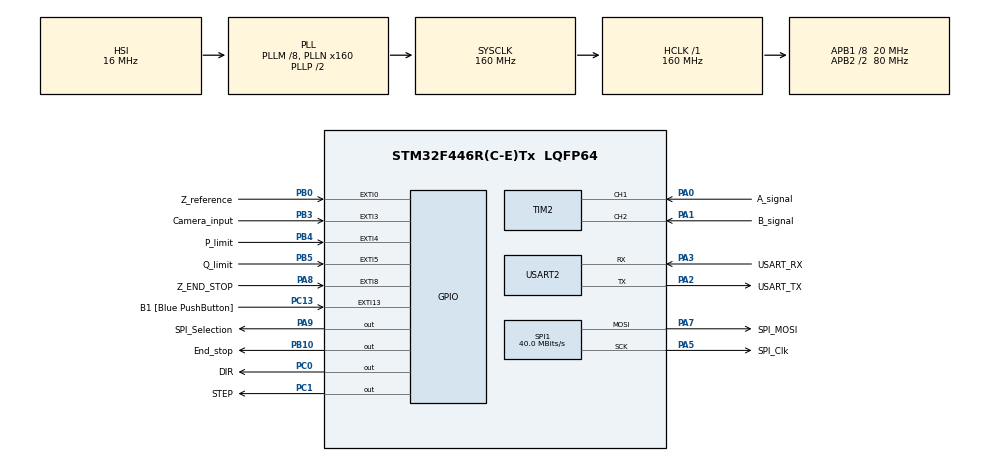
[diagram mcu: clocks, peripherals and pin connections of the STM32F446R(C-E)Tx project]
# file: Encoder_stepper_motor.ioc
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Mcu.Family=STM32F4
Mcu.Name=STM32F446R(C-E)Tx
Mcu.Package=LQFP64
NVIC.EXTI0_IRQn=true\:0\:0\:false\:false\:true\:true\:true\:true
NVIC.EXTI3_IRQn=true\:0\:0\:false\:false\:true\:true\:true\:true
NVIC.EXTI4_IRQn=true\:0\:0\:false\:false\:true\:true\:true\:true
NVIC.EXTI9_5_IRQn=true\:0\:0\:false\:false\:true\:true\:true\:true
NVIC.PriorityGroup=NVIC_PRIORITYGROUP_4
NVIC.TIM2_IRQn=true\:0\:0\:false\:false\:true\:true\:true\:true
NVIC.USART2_IRQn=true\:0\:0\:false\:false\:true\:true\:true\:true
PA0-WKUP.GPIO_Label=A_signal
PA0-WKUP.Signal=S_TIM2_CH1_ETR
PA1.GPIO_Label=B_signal
PA1.Signal=S_TIM2_CH2
PA13.GPIO_Label=TMS
PA13.Mode=Serial_Wire
PA13.Signal=SYS_JTMS-SWDIO
PA14.GPIO_Label=TCK
PA14.Mode=Serial_Wire
PA14.Signal=SYS_JTCK-SWCLK
PA2.GPIO_Label=USART_TX
PA2.Mode=Asynchronous
PA2.Signal=USART2_TX
PA3.GPIO_Label=USART_RX
PA3.Mode=Asynchronous
PA3.Signal=USART2_RX
PA5.GPIO_Label=SPI_Clk
PA5.Mode=TX_Only_Simplex_Unidirect_Master
PA5.Signal=SPI1_SCK
PA7.GPIO_Label=SPI_MOSI
PA7.Mode=TX_Only_Simplex_Unidirect_Master
PA7.Signal=SPI1_MOSI
PA8.GPIO_Label=Z_END_STOP 
PA8.GPIO_ModeDefaultEXTI=GPIO_MODE_IT_FALLING
PA8.GPIO_PuPd=GPIO_PULLUP
PA8.Signal=GPXTI8
PA9.GPIO_Label=SPI_Selection
PA9.GPIO_Speed=GPIO_SPEED_FREQ_VERY_HIGH
PA9.PinState=GPIO_PIN_SET
PA9.Signal=GPIO_Output
PB0.GPIO_Label=Z_reference 
PB0.GPIO_PuPd=GPIO_PULLDOWN
PB0.Signal=GPXTI0
PB10.GPIO_Label=End_stop
PB10.GPIO_Speed=GPIO_SPEED_FREQ_VERY_HIGH
PB10.PinState=GPIO_PIN_SET
PB10.Signal=GPIO_Output
PB3.GPIO_Label=Camera_input
PB3.GPIO_PuPd=GPIO_NOPULL
PB3.Signal=GPXTI3
PB4.GPIO_Label=P_limit
PB4.GPIO_PuPd=GPIO_PULLDOWN
PB4.Signal=GPXTI4
PB5.GPIO_Label=Q_limit
PB5.GPIO_PuPd=GPIO_PULLDOWN
PB5.Signal=GPXTI5
PC0.GPIO_Label=DIR
PC0.GPIO_Speed=GPIO_SPEED_FREQ_VERY_HIGH
PC0.Signal=GPIO_Output
PC1.GPIO_Label=STEP
PC1.GPIO_Speed=GPIO_SPEED_FREQ_VERY_HIGH
PC1.Signal=GPIO_Output
PC13.GPIO_Label=B1 [Blue PushButton]
PC13.GPIO_ModeDefaultEXTI=GPIO_MODE_IT_FALLING
PC13.Signal=GPXTI13
PC14-OSC32_IN.Mode=LSE-External-Oscillator
PC14-OSC32_IN.Signal=RCC_OSC32_IN
PC15-OSC32_OUT.Mode=LSE-External-Oscillator
PC15-OSC32_OUT.Signal=RCC_OSC32_OUT
PH0-OSC_IN.Mode=HSE-External-Oscillator
PH0-OSC_IN.Signal=RCC_OSC_IN
PH1-OSC_OUT.Mode=HSE-External-Oscillator
PH1-OSC_OUT.Signal=RCC_OSC_OUT
ProjectManager.HeapSize=0x200
ProjectManager.StackSize=0x400
ProjectManager.TargetToolchain=STM32CubeIDE
RCC.48MHZClocksFreq_Value=84000000
RCC.AHBFreq_Value=160000000
RCC.APB1CLKDivider=RCC_HCLK_DIV8
RCC.APB1Freq_Value=20000000
RCC.APB1TimFreq_Value=40000000
RCC.APB2CLKDivider=RCC_HCLK_DIV2
RCC.APB2Freq_Value=80000000
RCC.APB2TimFreq_Value=160000000
RCC.CortexFreq_Value=160000000
RCC.FLatency-AdvancedSettings=FLASH_LATENCY_5
RCC.HCLKFreq_Value=160000000
RCC.HSE_VALUE=8000000
RCC.HSI_VALUE=16000000
RCC.PLLM=8
RCC.PLLN=160
RCC.SYSCLKFreq_VALUE=160000000
RCC.SYSCLKSource=RCC_SYSCLKSOURCE_PLLCLK
RCC.USBFreq_Value=160000000
RCC.VCOOutputFreq_Value=320000000
SH.S_TIM2_CH1_ETR.0=TIM2_CH1,Encoder_Interface
SH.S_TIM2_CH2.0=TIM2_CH2,Encoder_Interface
SPI1.CalculateBaudRate=40.0 MBits/s
SPI1.Direction=SPI_DIRECTION_2LINES
SPI1.Mode=SPI_MODE_MASTER
SPI1.VirtualType=VM_MASTER
TIM2.EncoderMode=TIM_ENCODERMODE_TI12
TIM6.Prescaler=40-1
TIM7.Prescaler=40-1
USART2.VirtualMode=VM_ASYNC
VP_TIM6_VS_ClockSourceINT.Mode=Enable_Timer
VP_TIM7_VS_ClockSourceINT.Mode=Enable_Timer
board=NUCLEO-F446RE

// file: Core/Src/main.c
/* USER CODE BEGIN Header */
/**
  ******************************************************************************
  * @file           : main.c
  * @brief          : Main program body
  ******************************************************************************
  * @attention
  *
  * Copyright (c) 2023 STMicroelectronics.
  * All rights reserved.
  *
  * This software is licensed under terms that can be found in the LICENSE file
  * in the root directory of this software component.
  * If no LICENSE file comes with this software, it is provided AS-IS.
  *
  ******************************************************************************
  */
/* USER CODE END Header */
#include "main.h"

SPI_HandleTypeDef hspi1;

TIM_HandleTypeDef htim2;
TIM_HandleTypeDef htim6;
TIM_HandleTypeDef htim7;

UART_HandleTypeDef huart2;

/* USER CODE BEGIN PV */

/****************************** UART commands *****************/

uint8_t RxBuffer[50]; //UART command buffer
uint8_t RxIndex = 0;
uint8_t Exec_command = 0;
uint8_t rxByte;
char sending_data[50] = "Nan \n"; //
uint8_t RX_Char;
/**************************************************************/

/************ Z Stepper Motor varibles ************/

//const float steps_per_millimeters = 50000.0; // configure steps per millimeter
float targetPos = -1.0; //in millimeters

const uint32_t multiplier = 1000000;

const int32_t min_pos_mm = 0;
const float  max_pos_mm = 21* multiplier; //in millimeters
const float home_speed_mm = 1;
const float Acceleration_mm = 80 *50000;
int32_t min_pos = (int32_t ) (steps_per_millimeters * min_pos_mm);
int32_t max_pos = (int32_t ) (steps_per_millimeters * max_pos_mm);
int32_t home_speed = (int32_t) (steps_per_millimeters * home_speed_mm);

float Acceleration = Acceleration_mm*steps_per_millimeters; //stepsPerSecondSquared

int32_t Total_Steps;

//z homing variables
uint8_t Home_Pass = 0; // to make two pass of z homing
uint8_t HOMED = false;
/*******************************************************************/

/********** Encoder variables ************/

uint32_t Encoder_Count = 0;
//int16_t count;
int i = 0;
/*******************************************************************/

/************** Camera based variables *************/

// flag used to change the reaction for camera_input falling edge detection
// sending encoder values or toggle the LED colour
uint8_t flag = 0;

/* USER CODE END PV */

void SystemClock_Config(void);
static void MX_GPIO_Init(void);
static void MX_USART2_UART_Init(void);
static void MX_TIM6_Init(void);
static void MX_TIM7_Init(void);
static void MX_SPI1_Init(void);
static void MX_TIM2_Init(void);
/* USER CODE BEGIN PFP */
void __delay_ms(int32_t);
//void HAL_GPIO_EXTI_Callback(uint16_t);

/* USER CODE END PFP */

int main(void)
{

  /* MCU Configuration--------------------------------------------------------*/

  /* Reset of all peripherals, Initializes the Flash interface and the Systick. */
   HAL_Init();

  /* Configure the system clock */
  SystemClock_Config();

  /* Initialize all configured peripherals */
  MX_GPIO_Init();
  MX_USART2_UART_Init();
  MX_TIM6_Init();
  MX_TIM7_Init();
  MX_SPI1_Init();
  MX_TIM2_Init();
  /* USER CODE BEGIN 2 */
  /****************************** Setting up IRQ ***********************/
	HAL_NVIC_DisableIRQ(Z_END_STOP_EXTI_IRQn);
	HAL_NVIC_DisableIRQ(Z_reference_EXTI_IRQn);
	HAL_NVIC_DisableIRQ(P_limit_EXTI_IRQn);
	HAL_NVIC_DisableIRQ(Q_limit_EXTI_IRQn);

	//HAL_NVIC_DisableIRQ(Camera_input_EXTI_IRQn);
	//let's enable the camera_input only

  /*****************************************************************/

/*********************** LED SPI Intialization *******************/

	//initializing LED values
	dectobin(ch1_br, &ch1_buff1, &ch1_buff2);
	dectobin(ch2_br, &ch2_buff1, &ch2_buff2);
	dectobin(ch3_br, &ch3_buff1, &ch3_buff2);
	//setting up channel select pin to HIGH
	HAL_GPIO_WritePin(GPIOA, GPIO_PIN_9, GPIO_PIN_SET);

/************************** UART Initialisation *********************/
	// initiating interrupt for PC data receiving
	HAL_UART_Receive_IT(&huart2, &rxByte, 1);

/************************** Encoder Intialization *******************/

	HAL_TIM_Encoder_Start(&htim2,TIM_CHANNEL_ALL); //starting encoder

/*************************** Timer Intializations ****************/

  HAL_TIM_Base_Start(&htim6); //to calculate pulse time

  HAL_TIM_Base_Start(&htim7); // for microseconds delay

/*********************** Z motor initialization *********************/

	stepper_setup(STEP_GPIO_Port, STEP_Pin, DIR_GPIO_Port, DIR_Pin );

	//sample movement
	Total_Steps = (int32_t) ( steps_per_millimeters * targetPos );
	setMaxSpeed(10*steps_per_millimeters);
	setAcceleration(Acceleration);
	moveTo(Total_Steps);

	//runToPosition(); //moving to desired positions

/*********************************************************************/

  /* USER CODE END 2 */

  /* Infinite loop */
  while (1)
  {

    /* USER CODE BEGIN 3 */
	if(Exec_command){
	//			char str[] = "G91 Z30 F300 \r";
		int MAX_TOKENS = 3;
		char *token;
		char *tokens[3] = {0};
		int i = 0;

		/* Split the string by the delimiter " " */
		token = strtok((char *)RxBuffer, " ");

		while (token != NULL && i < MAX_TOKENS) {
			tokens[i] = token;
			i++;
			token = strtok(NULL, " ");
		}

		//Excute the command
		UART_Command(tokens);
	}
  }
  /* USER CODE END 3 */
}

void SystemClock_Config(void)
{
  RCC_OscInitTypeDef RCC_OscInitStruct = {0};
  RCC_ClkInitTypeDef RCC_ClkInitStruct = {0};

  /** Configure the main internal regulator output voltage
  */
  __HAL_RCC_PWR_CLK_ENABLE();
  __HAL_PWR_VOLTAGESCALING_CONFIG(PWR_REGULATOR_VOLTAGE_SCALE1);

  /** Initializes the RCC Oscillators according to the specified parameters
  * in the RCC_OscInitTypeDef structure.
  */
  RCC_OscInitStruct.OscillatorType = RCC_OSCILLATORTYPE_HSI;
  RCC_OscInitStruct.HSIState = RCC_HSI_ON;
  RCC_OscInitStruct.HSICalibrationValue = RCC_HSICALIBRATION_DEFAULT;
  RCC_OscInitStruct.PLL.PLLState = RCC_PLL_ON;
  RCC_OscInitStruct.PLL.PLLSource = RCC_PLLSOURCE_HSI;
  RCC_OscInitStruct.PLL.PLLM = 8;
  RCC_OscInitStruct.PLL.PLLN = 160;
  RCC_OscInitStruct.PLL.PLLP = RCC_PLLP_DIV2;
  RCC_OscInitStruct.PLL.PLLQ = 2;
  RCC_OscInitStruct.PLL.PLLR = 2;
  if (HAL_RCC_OscConfig(&RCC_OscInitStruct) != HAL_OK)
  {
    Error_Handler();
  }

  /** Initializes the CPU, AHB and APB buses clocks
  */
  RCC_ClkInitStruct.ClockType = RCC_CLOCKTYPE_HCLK|RCC_CLOCKTYPE_SYSCLK
                              |RCC_CLOCKTYPE_PCLK1|RCC_CLOCKTYPE_PCLK2;
  RCC_ClkInitStruct.SYSCLKSource = RCC_SYSCLKSOURCE_PLLCLK;
  RCC_ClkInitStruct.AHBCLKDivider = RCC_SYSCLK_DIV1;
  RCC_ClkInitStruct.APB1CLKDivider = RCC_HCLK_DIV8;
  RCC_ClkInitStruct.APB2CLKDivider = RCC_HCLK_DIV2;

  if (HAL_RCC_ClockConfig(&RCC_ClkInitStruct, FLASH_LATENCY_5) != HAL_OK)
  {
    Error_Handler();
  }
}

static void MX_SPI1_Init(void)
{

  /* SPI1 parameter configuration*/
  hspi1.Instance = SPI1;
  hspi1.Init.Mode = SPI_MODE_MASTER;
  hspi1.Init.Direction = SPI_DIRECTION_2LINES;
  hspi1.Init.DataSize = SPI_DATASIZE_8BIT;
  hspi1.Init.CLKPolarity = SPI_POLARITY_LOW;
  hspi1.Init.CLKPhase = SPI_PHASE_1EDGE;
  hspi1.Init.NSS = SPI_NSS_SOFT;
  hspi1.Init.BaudRatePrescaler = SPI_BAUDRATEPRESCALER_2;
  hspi1.Init.FirstBit = SPI_FIRSTBIT_MSB;
  hspi1.Init.TIMode = SPI_TIMODE_DISABLE;
  hspi1.Init.CRCCalculation = SPI_CRCCALCULATION_DISABLE;
  hspi1.Init.CRCPolynomial = 10;
  if (HAL_SPI_Init(&hspi1) != HAL_OK)
  {
    Error_Handler();
  }

}

static void MX_TIM2_Init(void)
{

  TIM_Encoder_InitTypeDef sConfig = {0};
  TIM_MasterConfigTypeDef sMasterConfig = {0};

  htim2.Instance = TIM2;
  htim2.Init.Prescaler = 0;
  htim2.Init.CounterMode = TIM_COUNTERMODE_UP;
  htim2.Init.Period = 4294967295;
  htim2.Init.ClockDivision = TIM_CLOCKDIVISION_DIV1;
  htim2.Init.AutoReloadPreload = TIM_AUTORELOAD_PRELOAD_DISABLE;
  sConfig.EncoderMode = TIM_ENCODERMODE_TI12;
  sConfig.IC1Polarity = TIM_ICPOLARITY_RISING;
  sConfig.IC1Selection = TIM_ICSELECTION_DIRECTTI;
  sConfig.IC1Prescaler = TIM_ICPSC_DIV1;
  sConfig.IC1Filter = 0;
  sConfig.IC2Polarity = TIM_ICPOLARITY_RISING;
  sConfig.IC2Selection = TIM_ICSELECTION_DIRECTTI;
  sConfig.IC2Prescaler = TIM_ICPSC_DIV1;
  sConfig.IC2Filter = 0;
  if (HAL_TIM_Encoder_Init(&htim2, &sConfig) != HAL_OK)
  {
    Error_Handler();
  }
  sMasterConfig.MasterOutputTrigger = TIM_TRGO_RESET;
  sMasterConfig.MasterSlaveMode = TIM_MASTERSLAVEMODE_DISABLE;
  if (HAL_TIMEx_MasterConfigSynchronization(&htim2, &sMasterConfig) != HAL_OK)
  {
    Error_Handler();
  }

}

static void MX_TIM6_Init(void)
{

  TIM_MasterConfigTypeDef sMasterConfig = {0};

  htim6.Instance = TIM6;
  htim6.Init.Prescaler = 40-1;
  htim6.Init.CounterMode = TIM_COUNTERMODE_UP;
  htim6.Init.Period = 65535;
  htim6.Init.AutoReloadPreload = TIM_AUTORELOAD_PRELOAD_DISABLE;
  if (HAL_TIM_Base_Init(&htim6) != HAL_OK)
  {
    Error_Handler();
  }
  sMasterConfig.MasterOutputTrigger = TIM_TRGO_RESET;
  sMasterConfig.MasterSlaveMode = TIM_MASTERSLAVEMODE_DISABLE;
  if (HAL_TIMEx_MasterConfigSynchronization(&htim6, &sMasterConfig) != HAL_OK)
  {
    Error_Handler();
  }

}

static void MX_TIM7_Init(void)
{

  TIM_MasterConfigTypeDef sMasterConfig = {0};

  htim7.Instance = TIM7;
  htim7.Init.Prescaler = 40-1;
  htim7.Init.CounterMode = TIM_COUNTERMODE_UP;
  htim7.Init.Period = 65535;
  htim7.Init.AutoReloadPreload = TIM_AUTORELOAD_PRELOAD_DISABLE;
  if (HAL_TIM_Base_Init(&htim7) != HAL_OK)
  {
    Error_Handler();
  }
  sMasterConfig.MasterOutputTrigger = TIM_TRGO_RESET;
  sMasterConfig.MasterSlaveMode = TIM_MASTERSLAVEMODE_DISABLE;
  if (HAL_TIMEx_MasterConfigSynchronization(&htim7, &sMasterConfig) != HAL_OK)
  {
    Error_Handler();
  }

}

static void MX_USART2_UART_Init(void)
{

  huart2.Instance = USART2;
  huart2.Init.BaudRate = 115200;
  huart2.Init.WordLength = UART_WORDLENGTH_8B;
  huart2.Init.StopBits = UART_STOPBITS_1;
  huart2.Init.Parity = UART_PARITY_NONE;
  huart2.Init.Mode = UART_MODE_TX_RX;
  huart2.Init.HwFlowCtl = UART_HWCONTROL_NONE;
  huart2.Init.OverSampling = UART_OVERSAMPLING_16;
  if (HAL_UART_Init(&huart2) != HAL_OK)
  {
    Error_Handler();
  }

}

static void MX_GPIO_Init(void)
{
  GPIO_InitTypeDef GPIO_InitStruct = {0};

  /* GPIO Ports Clock Enable */
  __HAL_RCC_GPIOC_CLK_ENABLE();
  __HAL_RCC_GPIOH_CLK_ENABLE();
  __HAL_RCC_GPIOA_CLK_ENABLE();
  __HAL_RCC_GPIOB_CLK_ENABLE();

  /*Configure GPIO pin Output Level */
  HAL_GPIO_WritePin(GPIOC, DIR_Pin|STEP_Pin, GPIO_PIN_RESET);

  /*Configure GPIO pin Output Level */
  HAL_GPIO_WritePin(End_stop_GPIO_Port, End_stop_Pin, GPIO_PIN_SET);

  /*Configure GPIO pin Output Level */
  HAL_GPIO_WritePin(SPI_Selection_GPIO_Port, SPI_Selection_Pin, GPIO_PIN_SET);

  /*Configure GPIO pin : B1_Pin */
  GPIO_InitStruct.Pin = B1_Pin;
  GPIO_InitStruct.Mode = GPIO_MODE_IT_FALLING;
  GPIO_InitStruct.Pull = GPIO_NOPULL;
  HAL_GPIO_Init(B1_GPIO_Port, &GPIO_InitStruct);

  /*Configure GPIO pins : DIR_Pin STEP_Pin */
  GPIO_InitStruct.Pin = DIR_Pin|STEP_Pin;
  GPIO_InitStruct.Mode = GPIO_MODE_OUTPUT_PP;
  GPIO_InitStruct.Pull = GPIO_NOPULL;
  GPIO_InitStruct.Speed = GPIO_SPEED_FREQ_VERY_HIGH;
  HAL_GPIO_Init(GPIOC, &GPIO_InitStruct);

  /*Configure GPIO pins : Z_reference_Pin P_limit_Pin Q_limit_Pin */
  GPIO_InitStruct.Pin = Z_reference_Pin|P_limit_Pin|Q_limit_Pin;
  GPIO_InitStruct.Mode = GPIO_MODE_IT_RISING;
  GPIO_InitStruct.Pull = GPIO_PULLDOWN;
  HAL_GPIO_Init(GPIOB, &GPIO_InitStruct);

  /*Configure GPIO pin : End_stop_Pin */
  GPIO_InitStruct.Pin = End_stop_Pin;
  GPIO_InitStruct.Mode = GPIO_MODE_OUTPUT_PP;
  GPIO_InitStruct.Pull = GPIO_NOPULL;
  GPIO_InitStruct.Speed = GPIO_SPEED_FREQ_VERY_HIGH;
  HAL_GPIO_Init(End_stop_GPIO_Port, &GPIO_InitStruct);

  /*Configure GPIO pin : Z_END_STOP_Pin */
  GPIO_InitStruct.Pin = Z_END_STOP_Pin;
  GPIO_InitStruct.Mode = GPIO_MODE_IT_FALLING;
  GPIO_InitStruct.Pull = GPIO_PULLUP;
  HAL_GPIO_Init(Z_END_STOP_GPIO_Port, &GPIO_InitStruct);

  /*Configure GPIO pin : SPI_Selection_Pin */
  GPIO_InitStruct.Pin = SPI_Selection_Pin;
  GPIO_InitStruct.Mode = GPIO_MODE_OUTPUT_PP;
  GPIO_InitStruct.Pull = GPIO_NOPULL;
  GPIO_InitStruct.Speed = GPIO_SPEED_FREQ_VERY_HIGH;
  HAL_GPIO_Init(SPI_Selection_GPIO_Port, &GPIO_InitStruct);

  /*Configure GPIO pin : Camera_input_Pin */
  GPIO_InitStruct.Pin = Camera_input_Pin;
  GPIO_InitStruct.Mode = GPIO_MODE_IT_RISING;
  GPIO_InitStruct.Pull = GPIO_NOPULL;
  HAL_GPIO_Init(Camera_input_GPIO_Port, &GPIO_InitStruct);

  /* EXTI interrupt init*/
  HAL_NVIC_SetPriority(EXTI0_IRQn, 0, 0);
  HAL_NVIC_EnableIRQ(EXTI0_IRQn);

  HAL_NVIC_SetPriority(EXTI3_IRQn, 0, 0);
  HAL_NVIC_EnableIRQ(EXTI3_IRQn);

  HAL_NVIC_SetPriority(EXTI4_IRQn, 0, 0);
  HAL_NVIC_EnableIRQ(EXTI4_IRQn);

  HAL_NVIC_SetPriority(EXTI9_5_IRQn, 0, 0);
  HAL_NVIC_EnableIRQ(EXTI9_5_IRQn);

}

/* USER CODE BEGIN 4 */
void HAL_GPIO_EXTI_Callback(uint16_t GPIO_Pin)
{
	if( GPIO_Pin == Z_END_STOP_Pin ){
		/* Z_END_STOP detected ->
		 * stop the homing motor
		 *  reset the position
		 * Disable the interrupt for Z_END_STOP
		 *
		 */

		if(Home_Pass == 0){
			// first pass
			Home_Pass = 1;

			Homing_completion();

			move((int32_t ) (steps_per_millimeters * 0.25));
			runToPosition();
			//setting speed again to intiate the HOMING
			//otherwise _stepintervel became zero
			setSpeed(-1*home_speed); //MOVING IN ccw
			return;
		}
		else if(Home_Pass == 1){

			HOMED = true;
			Home_Pass = 0;

			move((int32_t ) (steps_per_millimeters * 0.25));
			runToPosition();
			Homing_completion();

		}

		Exec_command = 0; //stop the motor
		memset(RxBuffer,0,sizeof(RxBuffer));

		//homing configuration
		Homing_completion();
		//disabling the Interrupt for End stop

		//Set encoder counting to zero
		__HAL_TIM_SET_COUNTER(&htim2,0);

		HAL_NVIC_DisableIRQ(Z_END_STOP_EXTI_IRQn);

		//Sending completion
		memset(sending_data,0,sizeof(sending_data));
		sprintf(sending_data,"Homed \n");
		HAL_UART_Transmit(&huart2,(uint8_t*)sending_data,strlen(sending_data),HAL_MAX_DELAY);

		return;

		}
	else if(GPIO_Pin == Camera_input_Pin){
		//Camera pulse detected

		//checking which operation have to do

		if(flag == 0){
		// PC in homing mode so sending encoder data to PC
		// for every one camera click encoder will be send to PC through UART
		memset(sending_data,0,sizeof(sending_data));
		sprintf(sending_data,"%ld\n",(int32_t)__HAL_TIM_GET_COUNTER(&htim2) );
		HAL_UART_Transmit(&huart2,(uint8_t*)sending_data,strlen(sending_data),HAL_MAX_DELAY);
		}

		else if(flag == 1){
			//PC in data capturing mode so toggle the led
			 switch(count){

			 case 0 :
				 // turning off all LEDs
				 stop_function(LED3);
				 // incrementing count to change the LED color in next time
				 count++;
				 break;
			 case 1:
				 //turning on 2nd LED only
				 stop_function(LED1);
				 send_function(LED2,&ch2_buff1,&ch2_buff2);
				 count++;// incrementing count to change the LED color in next time
				 break;
			 case 2:
				 //turning on 3rd LED only
				 stop_function(LED2); // turn off LED 2
				 send_function(LED3,&ch3_buff1,&ch3_buff2);// turn on LED 3
				 count = 0;// set count to zero to Off the LED in next time
				 break;
			 }

		}
	}

	else if( GPIO_Pin == Z_reference_Pin ){
	// Z_reference_detected.

		// pulse for end stop
		HAL_GPIO_WritePin(End_stop_GPIO_Port, End_stop_Pin, GPIO_PIN_RESET);
		__delay_ms(100); // custom delay function
		HAL_GPIO_WritePin(End_stop_GPIO_Port, End_stop_Pin, GPIO_PIN_SET);
		//homing completed

		//Set encoder counting to zero
		__HAL_TIM_SET_COUNTER(&htim2,0);
	}

	else if(GPIO_Pin == Q_limit_Pin){
	// Q_limit detected ( Lower Limit)
		//pulse for end stop
		HAL_GPIO_WritePin(End_stop_GPIO_Port, End_stop_Pin, GPIO_PIN_RESET);
		__delay_ms(100);
		HAL_GPIO_WritePin(End_stop_GPIO_Port, End_stop_Pin, GPIO_PIN_SET);
	}

	else if(GPIO_Pin == P_limit_Pin){
	// P_limit detected(Upper Limit)
	}

}

void HAL_UART_RxCpltCallback(UART_HandleTypeDef *huart)
{

	if(huart == &huart2){
    /* Receive one byte in the receive data register */
//    uint8_t rxByte = (uint8_t)(huart->Instance->DR & (uint8_t)0x00FF);

    /* Check if the received character is a /r or buffer is full */
    if (rxByte == '\r' || RxIndex == 50 - 1) // 50 is buffer length
    {
        /* Set flag to indicate command is complete */
        Exec_command = 1;

        /* Add null character to terminate string */
        RxBuffer[RxIndex] = 0;

        /* Resetting RxIndex to zero */
        RxIndex = 0;

        /* Restart the UART Interrupt */
		HAL_UART_Receive_IT(&huart2, &rxByte, 1);
    }

    else
    {
    	/****** Special Character Checking ***********/
    	if(rxByte == 'e' ){
		//sending encoder value through UART

		memset(sending_data,0,sizeof(sending_data));
		sprintf(sending_data,"%ld\n",__HAL_TIM_GET_COUNTER(&htim2) );
		HAL_UART_Transmit(&huart2,(uint8_t*)sending_data,strlen(sending_data),HAL_MAX_DELAY);

		 /* Restart the UART Interrupt */
		HAL_UART_Receive_IT(&huart2, &rxByte, 1);

		return;
    	}

        /* Add the character to the buffer */
        RxBuffer[RxIndex] = rxByte;
        RxIndex++;

        /* Restart the UART Interrupt */
        HAL_UART_Receive_IT(&huart2, &rxByte, 1);

    }

	}
}

void __delay_ms(int32_t k){
	int32_t i,j;
	for(i=0;i<k;i++)
		for(j=0;j<3000;j++){}
}

/* USER CODE END 4 */

void Error_Handler(void)
{
  /* USER CODE BEGIN Error_Handler_Debug */
  /* User can add his own implementation to report the HAL error return state */
  __disable_irq();
  while (1)
  {
  //sending the ready status
	memset(sending_data,0,sizeof(sending_data));
	sprintf(sending_data,"ERROR");
	HAL_UART_Transmit(&huart2,(uint8_t*)sending_data,strlen(sending_data),HAL_MAX_DELAY);

  }
  /* USER CODE END Error_Handler_Debug */
}
